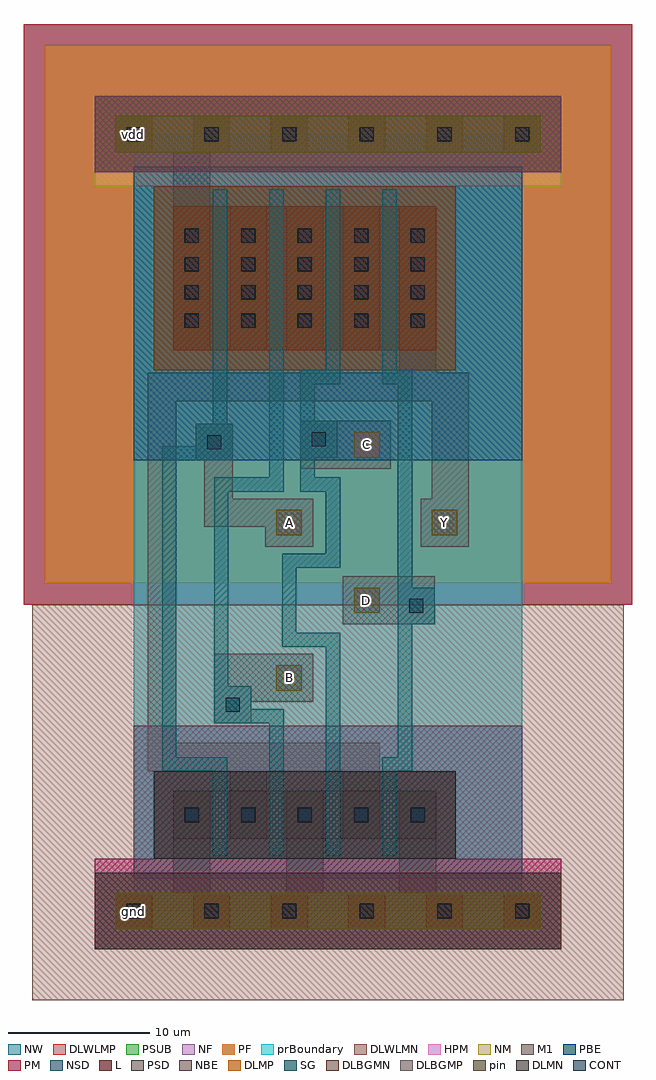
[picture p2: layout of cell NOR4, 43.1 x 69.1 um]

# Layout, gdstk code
import gdstk
lib = gdstk.Library(unit=1e-6, precision=1e-09)
def R(c, l, rs):  # rectangles x0, y0, x1, y1
    for r in rs: c.add(gdstk.rectangle(r[:2], r[2:], *l))
def A(c, l, x, y, w, h, nx, ny, dx, dy):  # array of equal rectangles
    R(c, l, [(x+i*dx, y+j*dy, x+i*dx+w, y+j*dy+h) for i in range(nx) for j in range(ny)])
def P(c, l, *ps):  # polygons
    for p in ps: c.add(gdstk.Polygon(p, *l))
L = (3, 0)
NM = (7, 0)
SG = (8, 0)
PSD = (9, 0)
CONT = (11, 0)
M1 = (13, 0)
NF = (25, 0)
PF = (26, 0)
NSD = (28, 0)
HPM = (33, 0)
PM = (35, 0)
NW = (36, 0)
pin = (48, 1)
PSUB = (140, 0)
PBE = (146, 0)
NBE = (147, 0)
DLWLMP = (150, 0)
DLWLMN = (151, 0)
DLMP = (157, 0)
DLMN = (158, 0)
DLBGMP = (177, 0)
DLBGMN = (178, 0)
prBoundary = (235, 0)

nor4 = lib.new_cell('NOR4')
A(nor4, L, -1.3, -1.3, 2.6, 2.6, 6, 2, 5.5, 55)
R(nor4, L, [(2.8,5.1,21.4,8.5), (2.8,39.7,21.4,49.9)])
R(nor4, NM, [(-2.75,-2.7,30.25,2.7)])
P(nor4, NM, [(1.4,38.3),(1.4,51.3),(-2.75,51.3),(-2.75,57.7),(30.25,57.7),(30.25,51.3),(22.8,51.3),(22.8,38.3)])
P(nor4, SG, [(5.6,3.9),(5.6,9.9),(2,9.9),(2,32.9),(4.4,32.9),(4.4,34.5),(5.6,34.5),(5.6,51.1),(6.6,51.1),(6.6,34.5),(7,34.5),(7,31.9),(3,31.9),(3,10.9),(6.6,10.9),(6.6,3.9)],
  [(9.6,3.9),(9.6,13.3),(5.7,13.3),(5.7,30.7),(9.6,30.7),(9.6,51.1),(10.6,51.1),(10.6,29.7),(6.7,29.7),(6.7,15.9),(8.3,15.9),(8.3,14.3),(10.6,14.3),(10.6,3.9)],
  [(13.6,3.9),(13.6,18.7),(10.5,18.7),(10.5,25.3),(13.6,25.3),(13.6,29.7),(11.8,29.7),(11.8,38.3),(13.6,38.3),(13.6,51.1),(14.6,51.1),(14.6,37.3),(12.8,37.3),(12.8,34.7),(14.4,34.7),(14.4,32.1),(12.8,32.1),(12.8,30.7),(14.6,30.7),(14.6,24.3),(11.5,24.3),(11.5,19.7),(14.6,19.7),(14.6,3.9)],
  [(17.6,3.9),(17.6,10.9),(18.7,10.9),(18.7,37.3),(17.6,37.3),(17.6,51.1),(18.6,51.1),(18.6,38.3),(19.7,38.3),(19.7,22.9),(21.3,22.9),(21.3,20.3),(19.7,20.3),(19.7,9.9),(18.6,9.9),(18.6,3.9)])
R(nor4, PSD, [(1.4,3.7,22.8,9.9), (-2.75,52.3,30.25,57.7)])
A(nor4, CONT, -0.5, -0.5, 1, 1, 6, 2, 5.5, 55)
A(nor4, CONT, 3.6, 41.3, 1, 1, 1, 4, 0, 2)
A(nor4, CONT, 19.6, 41.3, 1, 1, 1, 4, 0, 2)
R(nor4, CONT, [(3.6,6.3,4.6,7.3), (7.6,6.3,8.6,7.3), (7.6,6.3,8.6,7.3), (11.6,6.3,12.6,7.3), (11.6,6.3,12.6,7.3), (15.6,6.3,16.6,7.3), (15.6,6.3,16.6,7.3), (19.6,6.3,20.6,7.3), (6.5,14.1,7.5,15.1), (19.5,21.1,20.5,22.1), (5.2,32.7,6.2,33.7), (12.6,32.9,13.6,33.9), (7.6,41.3,8.6,42.3), (7.6,41.3,8.6,42.3), (11.6,41.3,12.6,42.3), (11.6,41.3,12.6,42.3), (15.6,41.3,16.6,42.3), (15.6,41.3,16.6,42.3), (7.6,43.3,8.6,44.3), (7.6,43.3,8.6,44.3), (11.6,43.3,12.6,44.3), (11.6,43.3,12.6,44.3), (15.6,43.3,16.6,44.3), (15.6,43.3,16.6,44.3), (7.6,45.3,8.6,46.3), (7.6,45.3,8.6,46.3), (11.6,45.3,12.6,46.3), (11.6,45.3,12.6,46.3), (15.6,45.3,16.6,46.3), (15.6,45.3,16.6,46.3), (7.6,47.3,8.6,48.3), (7.6,47.3,8.6,48.3), (11.6,47.3,12.6,48.3), (11.6,47.3,12.6,48.3), (15.6,47.3,16.6,48.3), (15.6,47.3,16.6,48.3)])
A(nor4, M1, 6.8, 39.7, 2.6, 10.2, 3, 1, 4, 0)
R(nor4, M1, [(14.8,20.3,21.3,23.7), (11.8,31.3,18.2,34.7)])
P(nor4, M1, [(-1.3,-1.3),(-1.3,1.3),(2.8,1.3),(2.8,8.5),(5.4,8.5),(5.4,1.3),(10.8,1.3),(10.8,8.5),(13.4,8.5),(13.4,1.3),(18.8,1.3),(18.8,8.5),(21.4,8.5),(21.4,1.3),(28.8,1.3),(28.8,-1.3)],
  [(5.7,13.3),(5.7,18.2),(12.7,18.2),(12.7,14.8),(8.3,14.8),(8.3,13.3)],
  [(9.3,25.8),(9.3,27.2),(5,27.2),(5,31.9),(4.4,31.9),(4.4,34.5),(7,34.5),(7,29.2),(12.7,29.2),(12.7,25.8)],
  [(6.8,5.1),(6.8,9.9),(1,9.9),(1,38.1),(18.8,38.1),(18.8,49.9),(21.4,49.9),(21.4,38.1),(23.7,38.1),(23.7,25.8),(20.3,25.8),(20.3,29.2),(21.1,29.2),(21.1,36.1),(3,36.1),(3,11.9),(17.4,11.9),(17.4,5.1),(14.8,5.1),(14.8,9.9),(9.4,9.9),(9.4,5.1)],
  [(2.8,39.7),(2.8,53.7),(-1.3,53.7),(-1.3,56.3),(28.8,56.3),(28.8,53.7),(5.4,53.7),(5.4,39.7)])
R(nor4, NF, [(-6.3,23.2,33.8,61.3)])
R(nor4, PF, [(-6.3,23.2,33.8,61.3)])
R(nor4, NSD, [(-2.75,-2.7,30.25,2.7), (1.4,38.3,22.8,51.3)])
P(nor4, HPM, [(-2.75,-2.7),(-2.75,3.7),(1.4,3.7),(1.4,9.9),(22.8,9.9),(22.8,3.7),(30.25,3.7),(30.25,-2.7)],
  [(1.4,38.3),(1.4,51.3),(-2.75,51.3),(-2.75,57.7),(30.25,57.7),(30.25,51.3),(22.8,51.3),(22.8,38.3)])
R(nor4, PM, [(-2.75,52.3,30.25,57.7)])
P(nor4, PM, [(-2.75,-2.7),(-2.75,3.7),(1.4,3.7),(1.4,9.9),(22.8,9.9),(22.8,3.7),(30.25,3.7),(30.25,-2.7)])
R(nor4, NW, [(-7.8,21.7,35.3,62.8)])
R(nor4, pin, [(-1.3,-1.3,28.8,1.3), (10.1,15.6,11.9,17.4), (15.6,21.1,17.4,22.9), (10.1,26.6,11.9,28.4), (21.1,26.6,22.9,28.4), (15.6,32.1,17.4,33.9), (-1.3,53.7,28.8,56.3)])
R(nor4, PSUB, [(-6.3,23.2,33.8,61.3)])
R(nor4, PBE, [(0,31.9,27.5,52.7)])
R(nor4, NBE, [(0,2.3,27.5,13.1)])
R(nor4, DLWLMP, [(-7.8,21.7,35.3,62.8)])
R(nor4, DLWLMN, [(-7.2,-6.3,34.7,21.7)])
R(nor4, DLMP, [(1.4,38.3,22.8,51.3)])
R(nor4, DLMN, [(1.4,3.7,22.8,9.9)])
R(nor4, DLBGMP, [(-2.75,52.3,30.25,57.7)])
R(nor4, DLBGMN, [(-2.75,-2.7,30.25,2.7)])
R(nor4, prBoundary, [(0,0,27.5,55)])
nor4.add(gdstk.Label('vdd', (0,55), layer=48, texttype=0))
nor4.add(gdstk.Label('C', (16.5,33), layer=48, texttype=0))
nor4.add(gdstk.Label('Y', (22,27.5), layer=48, texttype=0))
nor4.add(gdstk.Label('A', (11,27.5), layer=48, texttype=0))
nor4.add(gdstk.Label('D', (16.5,22), layer=48, texttype=0))
nor4.add(gdstk.Label('B', (11,16.5), layer=48, texttype=0))
nor4.add(gdstk.Label('gnd', (0,0), layer=48, texttype=0))

lib.write_gds('NOR4.gds')
